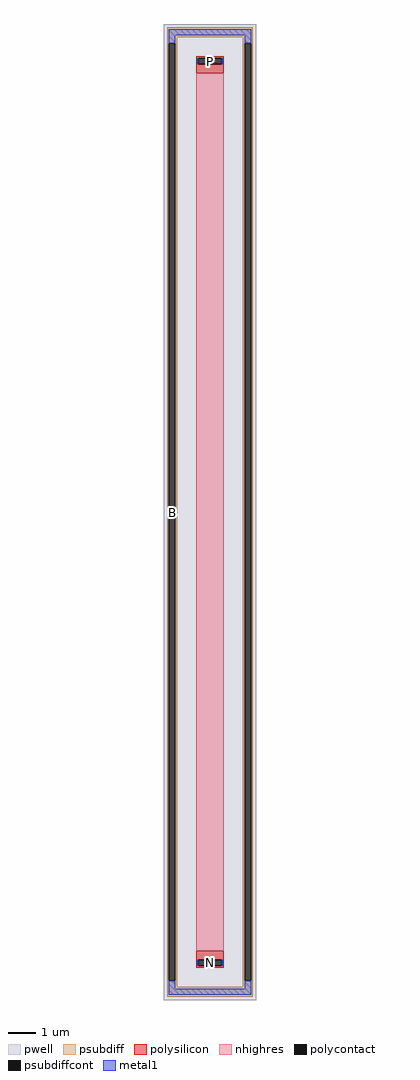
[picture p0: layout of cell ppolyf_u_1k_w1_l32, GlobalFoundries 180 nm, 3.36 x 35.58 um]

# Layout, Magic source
magic
tech gf180mcuD
magscale 1 10
<< pwell >>
rect -336 -3558 336 3558
<< psubdiff >>
rect -312 3462 312 3534
rect -312 3418 -240 3462
rect -312 -3418 -299 3418
rect -253 -3418 -240 3418
rect 240 3418 312 3462
rect -312 -3462 -240 -3418
rect 240 -3418 253 3418
rect 299 -3418 312 3418
rect 240 -3462 312 -3418
rect -312 -3534 312 -3462
<< psubdiffcont >>
rect -299 -3418 -253 3418
rect 253 -3418 299 3418
<< polysilicon >>
rect -100 3309 100 3322
rect -100 3263 -87 3309
rect 87 3263 100 3309
rect -100 3200 100 3263
rect -100 -3263 100 -3200
rect -100 -3309 -87 -3263
rect 87 -3309 100 -3263
rect -100 -3322 100 -3309
<< polycontact >>
rect -87 3263 87 3309
rect -87 -3309 87 -3263
<< nhighres >>
rect -100 -3200 100 3200
<< metal1 >>
rect -299 3475 299 3521
rect -299 3418 -253 3475
rect 253 3418 299 3475
rect -98 3263 -87 3309
rect 87 3263 98 3309
rect -98 -3309 -87 -3263
rect 87 -3309 98 -3263
rect -299 -3475 -253 -3418
rect 253 -3475 299 -3418
rect -299 -3521 299 -3475
<< labels >>
rlabel polycontact 0 3286 0 3286 0 P
port 1 nsew
rlabel polycontact 0 -3286 0 -3286 0 N
port 2 nsew
rlabel psubdiffcont -276 0 -276 0 0 B
port 4 nsew
<< properties >>
string FIXED_BBOX -276 -3498 276 3498
<< end >>
